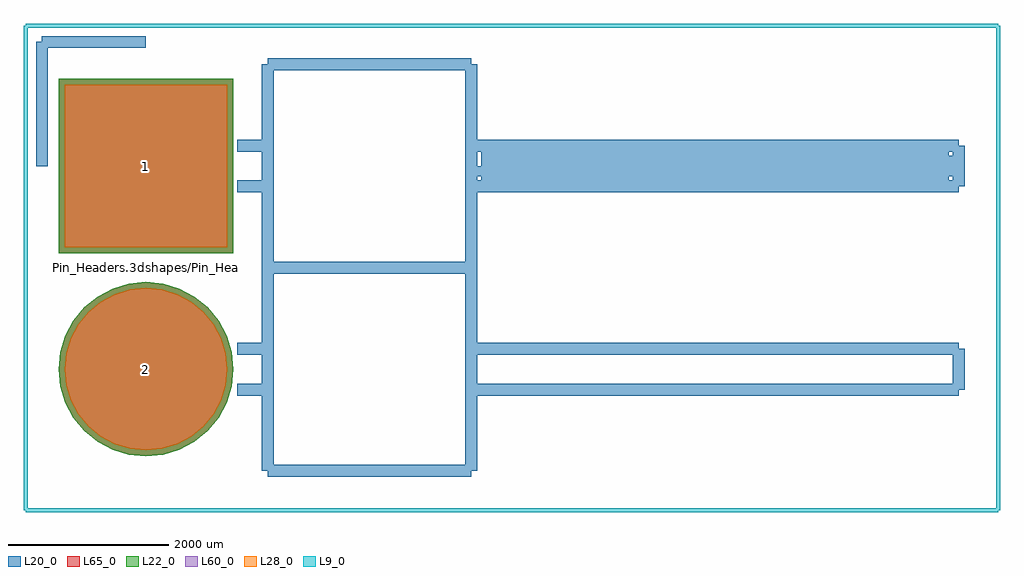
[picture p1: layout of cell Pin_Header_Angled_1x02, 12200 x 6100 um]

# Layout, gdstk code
import gdstk
lib = gdstk.Library(unit=1e-6, precision=1e-09)
def R(c, l, rs):  # rectangles x0, y0, x1, y1
    for r in rs: c.add(gdstk.rectangle(r[:2], r[2:], *l))
def P(c, l, *ps):  # polygons
    for p in ps: c.add(gdstk.Polygon(p, *l))
L9_0 = (9, 0)
L20_0 = (20, 0)
L22_0 = (22, 0)
L28_0 = (28, 0)
L60_0 = (60, 0)
L65_0 = (65, 0)

pin_header_angled_1x02 = lib.new_cell('Pin_Header_Angled_1x02')
R(pin_header_angled_1x02, L22_0, [(-1091,-1091,1091,1091)])
P(pin_header_angled_1x02, L22_0, [(1091,-2540),(1070.037,-2327.156),(1007.953,-2122.492),(907.133,-1933.873),(771.453,-1768.547),(606.127,-1632.867),(417.508,-1532.047),(212.844,-1469.963),(0,-1449),(-212.844,-1469.963),(-417.508,-1532.047),(-606.127,-1632.867),(-771.453,-1768.547),(-907.133,-1933.873),(-1007.953,-2122.492),(-1070.037,-2327.156),(-1091,-2540),(-1070.037,-2752.844),(-1007.953,-2957.508),(-907.133,-3146.127),(-771.453,-3311.453),(-606.127,-3447.133),(-417.508,-3547.953),(-212.844,-3610.037),(0,-3631),(212.844,-3610.037),(417.508,-3547.953),(606.127,-3447.133),(771.453,-3311.453),(907.133,-3146.127),(1007.953,-2957.508),(1070.037,-2752.844)])
R(pin_header_angled_1x02, L28_0, [(-1016,-1016,1016,1016)])
P(pin_header_angled_1x02, L28_0, [(1016,-2540),(996.478,-2341.788),(938.662,-2151.194),(844.773,-1975.541),(718.42,-1821.58),(564.459,-1695.227),(388.806,-1601.338),(198.212,-1543.522),(0,-1524),(-198.212,-1543.522),(-388.806,-1601.338),(-564.459,-1695.227),(-718.42,-1821.58),(-844.773,-1975.541),(-938.662,-2151.194),(-996.478,-2341.788),(-1016,-2540),(-996.478,-2738.212),(-938.662,-2928.806),(-844.773,-3104.459),(-718.42,-3258.42),(-564.459,-3384.773),(-388.806,-3478.662),(-198.212,-3536.478),(0,-3556),(198.212,-3536.478),(388.806,-3478.662),(564.459,-3384.773),(718.42,-3258.42),(844.773,-3104.459),(938.662,-2928.806),(996.478,-2738.212)])
R(pin_header_angled_1x02, L60_0, [(-1016,-1016,1016,1016)])
P(pin_header_angled_1x02, L60_0, [(1016,-2540),(996.478,-2341.788),(938.662,-2151.194),(844.773,-1975.541),(718.42,-1821.58),(564.459,-1695.227),(388.806,-1601.338),(198.212,-1543.522),(0,-1524),(-198.212,-1543.522),(-388.806,-1601.338),(-564.459,-1695.227),(-718.42,-1821.58),(-844.773,-1975.541),(-938.662,-2151.194),(-996.478,-2341.788),(-1016,-2540),(-996.478,-2738.212),(-938.662,-2928.806),(-844.773,-3104.459),(-718.42,-3258.42),(-564.459,-3384.773),(-388.806,-3478.662),(-198.212,-3536.478),(0,-3556),(198.212,-3536.478),(388.806,-3478.662),(564.459,-3384.773),(718.42,-3258.42),(844.773,-3104.459),(938.662,-2928.806),(996.478,-2738.212)])
R(pin_header_angled_1x02, L65_0, [(-1091,-1091,1091,1091)])
P(pin_header_angled_1x02, L65_0, [(1091,-2540),(1070.037,-2327.156),(1007.953,-2122.492),(907.133,-1933.873),(771.453,-1768.547),(606.127,-1632.867),(417.508,-1532.047),(212.844,-1469.963),(0,-1449),(-212.844,-1469.963),(-417.508,-1532.047),(-606.127,-1632.867),(-771.453,-1768.547),(-907.133,-1933.873),(-1007.953,-2122.492),(-1070.037,-2327.156),(-1091,-2540),(-1070.037,-2752.844),(-1007.953,-2957.508),(-907.133,-3146.127),(-771.453,-3311.453),(-606.127,-3447.133),(-417.508,-3547.953),(-212.844,-3610.037),(0,-3631),(212.844,-3610.037),(417.508,-3547.953),(606.127,-3447.133),(771.453,-3311.453),(907.133,-3146.127),(1007.953,-2957.508),(1070.037,-2752.844)])
pin_header_angled_1x02.add(gdstk.FlexPath([(1524,1270),(1524,-1270)], 149.998, ends="flush", simple_path=True, layer=20, datatype=0))  # L20_0
pin_header_angled_1x02.add(gdstk.FlexPath([(1524,-1270),(4064,-1270)], 149.998, ends="flush", simple_path=True, layer=20, datatype=0))  # L20_0
pin_header_angled_1x02.add(gdstk.FlexPath([(4064,254),(10160,254)], 149.998, ends="flush", simple_path=True, layer=20, datatype=0))  # L20_0
pin_header_angled_1x02.add(gdstk.FlexPath([(10160,254),(10160,-254)], 149.998, ends="flush", simple_path=True, layer=20, datatype=0))  # L20_0
pin_header_angled_1x02.add(gdstk.FlexPath([(10160,-254),(4064,-254)], 149.998, ends="flush", simple_path=True, layer=20, datatype=0))  # L20_0
pin_header_angled_1x02.add(gdstk.FlexPath([(4064,-1270),(4064,1270)], 149.998, ends="flush", simple_path=True, layer=20, datatype=0))  # L20_0
pin_header_angled_1x02.add(gdstk.FlexPath([(4064,-3810),(4064,-1270)], 149.998, ends="flush", simple_path=True, layer=20, datatype=0))  # L20_0
pin_header_angled_1x02.add(gdstk.FlexPath([(10160,-2794),(4064,-2794)], 149.998, ends="flush", simple_path=True, layer=20, datatype=0))  # L20_0
pin_header_angled_1x02.add(gdstk.FlexPath([(10160,-2286),(10160,-2794)], 149.998, ends="flush", simple_path=True, layer=20, datatype=0))  # L20_0
pin_header_angled_1x02.add(gdstk.FlexPath([(4064,-2286),(10160,-2286)], 149.998, ends="flush", simple_path=True, layer=20, datatype=0))  # L20_0
pin_header_angled_1x02.add(gdstk.FlexPath([(1524,-3810),(4064,-3810)], 149.998, ends="flush", simple_path=True, layer=20, datatype=0))  # L20_0
pin_header_angled_1x02.add(gdstk.FlexPath([(1524,-1270),(1524,-3810)], 149.998, ends="flush", simple_path=True, layer=20, datatype=0))  # L20_0
pin_header_angled_1x02.add(gdstk.FlexPath([(1524,-1270),(4064,-1270)], 149.998, ends="flush", simple_path=True, layer=20, datatype=0))  # L20_0
pin_header_angled_1x02.add(gdstk.FlexPath([(1524,1270),(4064,1270)], 149.998, ends="flush", simple_path=True, layer=20, datatype=0))  # L20_0
pin_header_angled_1x02.add(gdstk.FlexPath([(1524,-2794),(1143,-2794)], 149.998, ends="flush", simple_path=True, layer=20, datatype=0))  # L20_0
pin_header_angled_1x02.add(gdstk.FlexPath([(1524,-2286),(1143,-2286)], 149.998, ends="flush", simple_path=True, layer=20, datatype=0))  # L20_0
pin_header_angled_1x02.add(gdstk.FlexPath([(1524,-254),(1143,-254)], 149.998, ends="flush", simple_path=True, layer=20, datatype=0))  # L20_0
pin_header_angled_1x02.add(gdstk.FlexPath([(1524,254),(1143,254)], 149.998, ends="flush", simple_path=True, layer=20, datatype=0))  # L20_0
pin_header_angled_1x02.add(gdstk.FlexPath([(4191,0),(10033,0)], 149.998, ends="flush", simple_path=True, layer=20, datatype=0))  # L20_0
pin_header_angled_1x02.add(gdstk.FlexPath([(4191,-127),(4191,0)], 149.998, ends="flush", simple_path=True, layer=20, datatype=0))  # L20_0
pin_header_angled_1x02.add(gdstk.FlexPath([(10033,-127),(4191,-127)], 149.998, ends="flush", simple_path=True, layer=20, datatype=0))  # L20_0
pin_header_angled_1x02.add(gdstk.FlexPath([(10033,127),(10033,-127)], 149.998, ends="flush", simple_path=True, layer=20, datatype=0))  # L20_0
pin_header_angled_1x02.add(gdstk.FlexPath([(4191,127),(10033,127)], 149.998, ends="flush", simple_path=True, layer=20, datatype=0))  # L20_0
pin_header_angled_1x02.add(gdstk.FlexPath([(0,1550),(-1300,1550)], 149.998, ends="flush", simple_path=True, layer=20, datatype=0))  # L20_0
pin_header_angled_1x02.add(gdstk.FlexPath([(-1300,1550),(-1300,0)], 149.998, ends="flush", simple_path=True, layer=20, datatype=0))  # L20_0
pin_header_angled_1x02.add(gdstk.FlexPath([(-1500,-4300),(10650,-4300)], 50, ends="flush", simple_path=True, layer=9, datatype=0))  # L9_0
pin_header_angled_1x02.add(gdstk.FlexPath([(-1500,1750),(10650,1750)], 50, ends="flush", simple_path=True, layer=9, datatype=0))  # L9_0
pin_header_angled_1x02.add(gdstk.FlexPath([(10650,1750),(10650,-4300)], 50, ends="flush", simple_path=True, layer=9, datatype=0))  # L9_0
pin_header_angled_1x02.add(gdstk.FlexPath([(-1500,1750),(-1500,-4300)], 50, ends="flush", simple_path=True, layer=9, datatype=0))  # L9_0
pin_header_angled_1x02.add(gdstk.Label('Pin_Headers.3dshapes/Pin_Header_Angled_1x02.wrl', (0,-1270), layer=12, texttype=0))
pin_header_angled_1x02.add(gdstk.Label('2', (0,-2540), layer=28, texttype=0))
pin_header_angled_1x02.add(gdstk.Label('1', (0,0), layer=28, texttype=0))
pin_header_angled_1x02.add(gdstk.Label('type', (0,3100), layer=9, texttype=0))
pin_header_angled_1x02.add(gdstk.Label('devicename', (0,5100), layer=9, texttype=0))

lib.write_gds('Pin_Header_Angled_1x02.gds')
